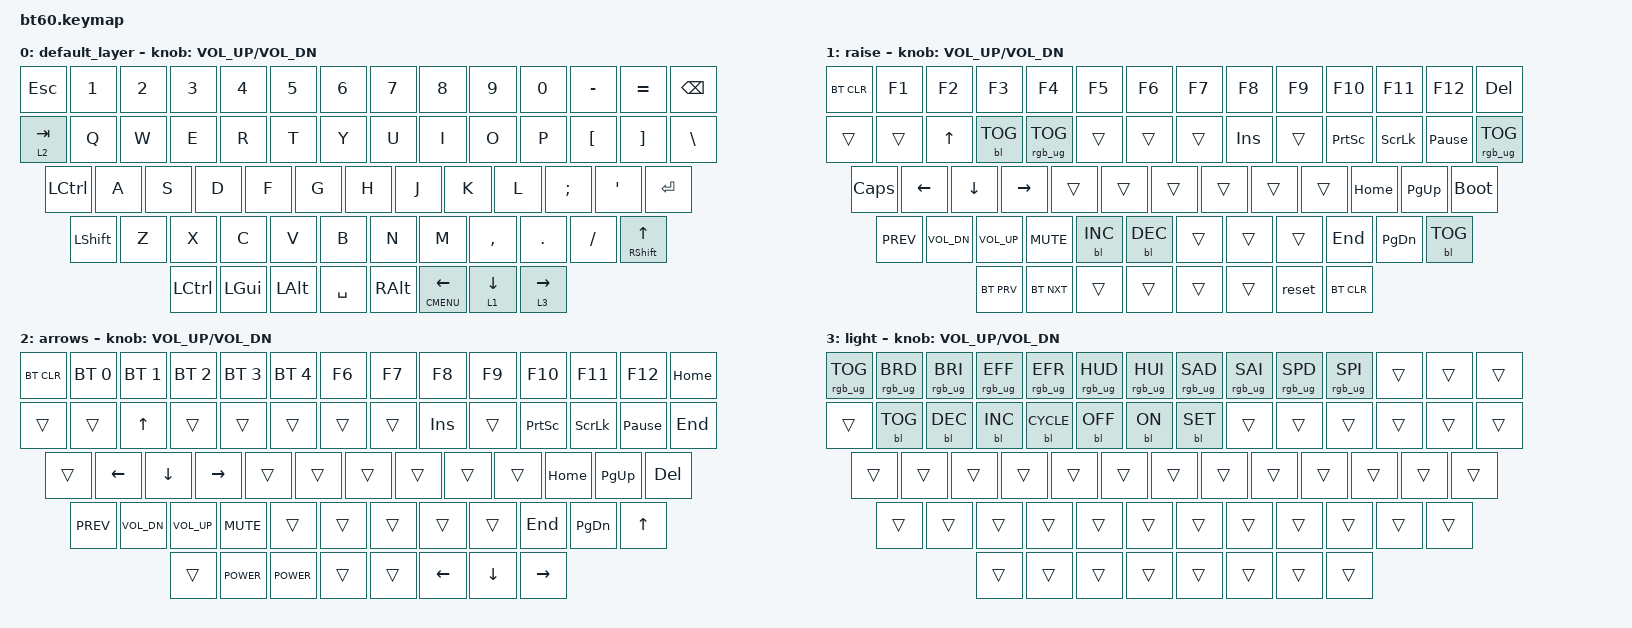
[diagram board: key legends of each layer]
#include <behaviors.dtsi>
#include <dt-bindings/zmk/keys.h>
#include <dt-bindings/zmk/bt.h>
#include <dt-bindings/zmk/rgb.h>
#include <dt-bindings/zmk/backlight.h>
/*
		light {
			bindings = <
				&trans &trans &trans &trans &trans &trans &trans &trans &trans &trans &trans &trans &trans &trans &trans
				&trans &trans &trans &trans &trans &trans &trans &trans &trans &trans &trans &trans &trans &trans
				&trans    &trans &trans &trans &trans &trans &trans &trans &trans &trans &trans  &trans   &trans
				&trans &trans &trans &trans &trans &trans &trans &trans &trans &trans &trans  &trans
				&trans &trans  &trans              &trans                            &trans   &trans   &trans &trans
			>;
			sensor-bindings = <&inc_dec_kp C_VOL_UP C_VOL_DN>;
		};
*/
/ {
	keymap {
		compatible = "zmk,keymap";

		default_layer {
				// ------------------------------------------------------------------------------------------
				// |  `  |  1  |  2  |  3  |  4  |  5  |  6  |  7  |  8  |  9  |  0  |  -  |  =  |   BKSP
				// | TAB  |  Q  |  W  |  E  |  R  |  T  |  Y  |  U  |  I  |  O  |  P  |  [  |  ]  |   |
				// | CAPS  |  A  |  S  |  D  |  F  |  G  |  H  |  J  |  K  |  L  |  ;  |  '  |     ENTER
				// |  SHIFT    |  Z  |  X  |  C  |  V  |  B  |  N  |  M  |  ,  |  .  | /   |      SHIFT
				// |  CTL  |  WIN  |  ALT  |            SPACE               | ALT | 1    |  MENU    |  CTRL
				// ------------------------------------------------------------------------------------------
			bindings = <

				&kp ESC &kp N1 &kp N2 &kp N3 &kp N4 &kp N5 &kp N6 &kp N7 &kp  N8   &kp  N9 &kp  N0  &kp MINUS &kp EQUAL &kp BSPC
				&lt 2 TAB  &kp Q  &kp W  &kp E  &kp R  &kp T  &kp Y  &kp U  &kp  I    &kp  O  &kp  P   &kp LBKT &kp RBKT   &kp BSLH
				&kp LCTRL  &kp A  &kp S  &kp D  &kp F  &kp G  &kp H  &kp J  &kp  K    &kp  L  &kp SEMI &kp SQT            &kp RET
				&kp LSHFT  &kp Z  &kp X  &kp C  &kp V  &kp B  &kp N  &kp M  &kp COMMA &kp DOT &kp FSLH                   &mt RSHFT UP
				&kp LCTRL &kp LGUI &kp LALT            &kp SPACE                          &kp RALT &mt K_CMENU LEFT &lt 1 DOWN &lt 3 RIGHT
			>;
			sensor-bindings = <&inc_dec_kp C_VOL_UP C_VOL_DN>;
		};
		raise {
			bindings = <
				&bt BT_CLR &kp F1 &kp F2 &kp F3 &kp F4 &kp F5 &kp F6 &kp F7 &kp F8 &kp F9 &kp F10 &kp F11 &kp F12 &kp DEL
				&trans &trans &kp UP &bl BL_TOG &rgb_ug RGB_TOG &trans &trans &trans &kp INS &trans &kp PSCRN &kp SLCK &kp PAUSE_BREAK &rgb_ug RGB_TOG
				&kp CAPS &kp LEFT &kp DOWN &kp RIGHT &trans &trans &trans &trans &trans &trans &kp HOME  &kp PG_UP   &bootloader
				&kp C_PREV &kp C_VOL_DN &kp C_VOL_UP &kp C_MUTE &bl BL_INC &bl BL_DEC &trans &trans &trans &kp END &kp PG_DN  &bl BL_TOG
				&bt BT_PRV &bt BT_NXT  &trans              &trans                            &trans   &trans   &reset &bt BT_CLR
			>;
			sensor-bindings = <&inc_dec_kp C_VOL_UP C_VOL_DN>;
		};
		arrows {
			bindings = <
				&bt BT_CLR &bt BT_SEL 0 &bt BT_SEL 1 &bt BT_SEL 2 &bt BT_SEL 3 &bt BT_SEL 4 &kp F6 &kp F7 &kp  F8   &kp  F9 &kp  F10  &kp F11 &kp F12 &kp HOME
				&trans &trans &kp UP &trans &trans &trans &trans &trans &kp INS &trans &kp PSCRN &kp SLCK &kp PAUSE_BREAK &kp END
				&trans    &kp LEFT &kp DOWN &kp RIGHT &trans &trans &trans &trans &trans &trans &kp HOME  &kp PG_UP   &kp DEL
				&kp C_PREV &kp C_VOL_DN &kp C_VOL_UP &kp C_MUTE &trans &trans &trans &trans &trans &kp END &kp PG_DN  &kp UP
				&trans &kp C_POWER  &kp K_POWER              &trans                            &trans   &kp LEFT   &kp DOWN &kp RIGHT
			>;
			sensor-bindings = <&inc_dec_kp C_VOL_UP C_VOL_DN>;
		};
		light {
			bindings = <
				&rgb_ug RGB_TOG &rgb_ug RGB_BRD &rgb_ug RGB_BRI &rgb_ug RGB_EFF &rgb_ug RGB_EFR &rgb_ug RGB_HUD &rgb_ug RGB_HUI &rgb_ug RGB_SAD &rgb_ug RGB_SAI &rgb_ug RGB_SPD &rgb_ug RGB_SPI &trans &trans &trans
				&trans &bl BL_TOG &bl BL_DEC &bl BL_INC &bl BL_CYCLE &bl BL_OFF &bl BL_ON &bl BL_SET &trans &trans &trans &trans &trans &trans
				&trans    &trans &trans &trans &trans &trans &trans &trans &trans &trans &trans  &trans   &trans
				&trans &trans &trans &trans &trans &trans &trans &trans &trans &trans &trans  &trans
				&trans &trans  &trans              &trans                            &trans   &trans   &trans &trans
			>;
			sensor-bindings = <&inc_dec_kp C_VOL_UP C_VOL_DN>;
		};

	};
};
